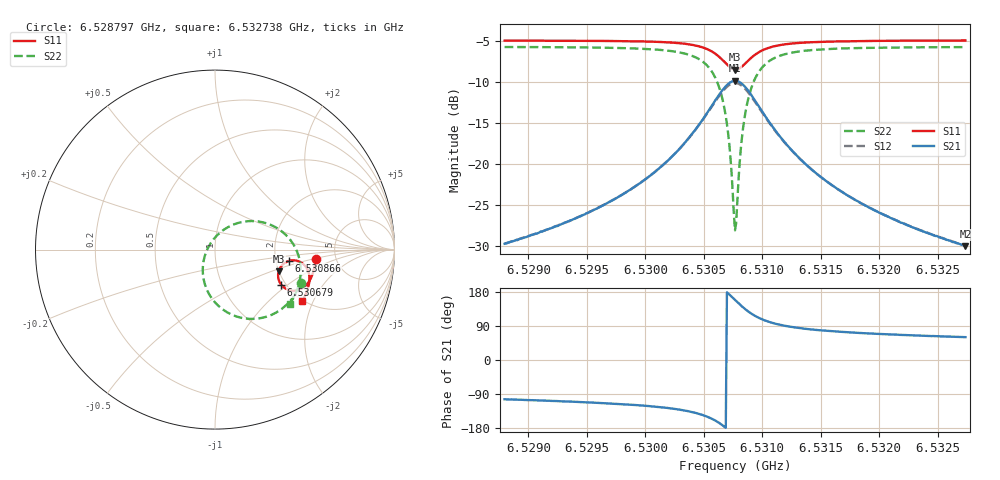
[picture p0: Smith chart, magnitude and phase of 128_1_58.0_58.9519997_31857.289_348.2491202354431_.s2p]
#  HZ  S  RI  R  50.00
! Rohde & Schwarz Vector Network Analyzer
! Rohde-Schwarz,ZNB20-2Port,1311601062101988,3.16
! Created: UTC 3/21/2024, 12:55:59 AM
! freq[Hz]  re:S11  im:S11  re:S21  im:S21  re:S12  im:S12  re:S22  im:S22
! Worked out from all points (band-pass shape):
!   401 points, 6.528797 GHz to 6.532738 GHz, reference 50 ohm
!   highest |S21| = -9.89 dB at 6.530767 GHz (marker M1); lowest = -30.1 dB at 6.532738 GHz (marker M2)
!   |S21| within 3 dB of the highest: 6.530571 GHz to 6.530966 GHz (394.7 kHz wide, 0.00604 % of centre)
!   lowest |S11| = -8.5 dB at 6.530767 GHz (marker M3), VSWR 2.20, Z = 99.6 - j28.3 ohm
!   |S11| at or under -10 dB: nowhere
!   |S22| runs from -28.1 to -5.8 dB; largest |S21 - S12| = 0.013
!   S11 on the Smith chart (normalised r, x): 6.528797 GHz: 3.49, -0.55; 6.530679 GHz: 1.89, -0.89; 6.530866 GHz: 2.36, -0.36; 6.532738 GHz: 1.98, -1.66
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6.5287967e9  0.5607 -0.0536  -0.00765 -0.0316  -0.00834 -0.0316  0.4813 -0.1836
6.5294569e9  0.5512 -0.1093  -0.0173 -0.0451  -0.0184 -0.0447  0.4491 -0.2465
6.5298116e9  0.5409 -0.1433  -0.0294 -0.0584  -0.031 -0.0577  0.4169 -0.2889
6.5301171e9  0.5241 -0.1777  -0.0522 -0.0775  -0.0546 -0.0759  0.3642 -0.336
6.5303438e9  0.497 -0.2081  -0.0938 -0.0981  -0.0967 -0.0946  0.28 -0.3757
6.5305113e9  0.4519 -0.2282  -0.1648 -0.1051  -0.1673 -0.0981  0.1488 -0.3804
6.5306098e9  0.4053 -0.223  -0.2375 -0.0782  -0.2367 -0.0677  0.0272 -0.3205
6.5306788e9  0.3684 -0.1948  -0.2912 -0.0173  -0.2849 -0.00667  -0.0515 -0.2077
6.5307182e9  0.3544 -0.1659  -0.3081 0.0377  -0.2986 0.0465  -0.0684 -0.1132
6.5307576e9  0.3526 -0.1307  -0.3037 0.1007  -0.2919 0.1057  -0.0482 -0.0106
6.5307675e9  0.3545 -0.1219  -0.2986 0.1163  -0.2867 0.1202  -0.0368 0.0137
6.5307773e9  0.3574 -0.1133  -0.292 0.1312  -0.2801 0.1341  -0.0232 0.0367
6.5307872e9  0.3611 -0.105  -0.284 0.1454  -0.2723 0.147  -0.00738 0.0584
6.5308266e9  0.383 -0.0784  -0.2411 0.1909  -0.2311 0.1892  0.0715 0.1246
6.530866e9  0.411 -0.0636  -0.1905 0.2155  -0.183 0.2121  0.1599 0.1554
6.530935e9  0.4561 -0.0622  -0.1118 0.2182  -0.1079 0.2149  0.2922 0.1446
6.5310335e9  0.4959 -0.0838  -0.0438 0.1864  -0.042 0.1845  0.4018 0.0744
6.5311813e9  0.5195 -0.1203  -0.00254 0.1381  -0.00118 0.1373  0.4621 -0.0242
6.5314277e9  0.5262 -0.1642  0.0153 0.0903  0.0164 0.0901  0.4776 -0.1249
6.5317332e9  0.5212 -0.2015  0.0186 0.0611  0.0195 0.0609  0.4675 -0.1935
6.5320879e9  0.5108 -0.2352  0.0181 0.0436  0.0187 0.0433  0.4497 -0.2431
6.5327383e9  0.4872 -0.2857  0.0156 0.0273  0.0162 0.0272  0.4157 -0.3032
